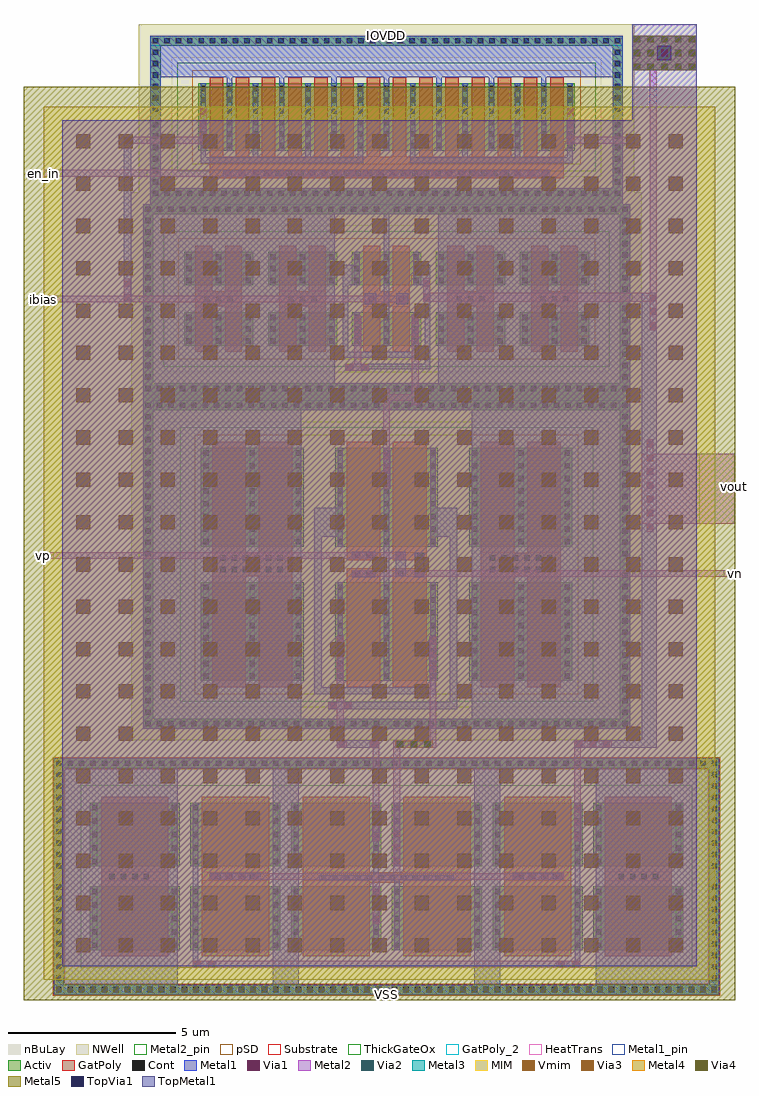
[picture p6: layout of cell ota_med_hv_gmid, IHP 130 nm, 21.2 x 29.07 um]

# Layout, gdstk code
from math import pi, radians
import gdstk
lib = gdstk.Library(unit=1e-6, precision=1e-09)
def R(c, l, rs):  # rectangles x0, y0, x1, y1
    for r in rs: c.add(gdstk.rectangle(r[:2], r[2:], *l))
def A(c, l, x, y, w, h, nx, ny, dx, dy):  # array of equal rectangles
    R(c, l, [(x+i*dx, y+j*dy, x+i*dx+w, y+j*dy+h) for i in range(nx) for j in range(ny)])
def P(c, l, *ps):  # polygons
    for p in ps: c.add(gdstk.Polygon(p, *l))
Activ = (1, 0)
GatPoly = (5, 0)
GatPoly_2 = (5, 2)
Cont = (6, 0)
Metal1 = (8, 0)
Metal1_pin = (8, 2)
Metal2 = (10, 0)
Metal2_pin = (10, 2)
pSD = (14, 0)
Via1 = (19, 0)
Via2 = (29, 0)
Metal3 = (30, 0)
NWell = (31, 0)
nBuLay = (32, 0)
MIM = (36, 0)
Substrate = (40, 0)
ThickGateOx = (44, 0)
Via3 = (49, 0)
Metal4 = (50, 0)
HeatTrans = (51, 0)
Via4 = (66, 0)
Metal5 = (67, 0)
TopVia1 = (125, 0)
TopMetal1 = (126, 0)
Vmim = (129, 0)

pmoshv_1_1 = lib.new_cell('pmosHV$1$1')
A(pmoshv_1_1, Activ, 0, 0, 0.3, 0.3, 3, 1, 1.38, 0)
R(pmoshv_1_1, Activ, [(0,0,3.06,2.94)])
R(pmoshv_1_1, GatPoly, [(0.34,-0.18,1.34,3.12), (1.72,-0.18,2.72,3.12)])
R(pmoshv_1_1, GatPoly_2, [(0.34,-0.18,1.34,3.12)])
A(pmoshv_1_1, Cont, 0.07, 0.07, 0.16, 0.16, 3, 3, 1.38, 0.375)
A(pmoshv_1_1, Cont, 0.07, 1.2, 0.16, 0.16, 3, 2, 1.38, 0.375)
A(pmoshv_1_1, Cont, 0.07, 1.955, 0.16, 0.16, 3, 2, 1.38, 0.375)
A(pmoshv_1_1, Cont, 0.07, 2.71, 0.16, 0.16, 3, 1, 1.38, 0)
A(pmoshv_1_1, Metal1, 0.07, 0, 0.16, 2.94, 3, 1, 1.38, 0)
R(pmoshv_1_1, Metal1_pin, [(0.07,0,0.23,2.94), (1.45,0,1.61,2.94)])
R(pmoshv_1_1, pSD, [(-0.18,-0.4,3.24,3.34)])
R(pmoshv_1_1, NWell, [(-0.62,-0.62,3.68,3.56)])
R(pmoshv_1_1, Substrate, [(2.76,0,3.06,0.3)])
R(pmoshv_1_1, ThickGateOx, [(-0.62,-0.62,3.68,3.56)])
R(pmoshv_1_1, HeatTrans, [(0.34,-0.18,1.34,3.12), (1.72,-0.18,2.72,3.12)])
pmoshv_1_1.add(gdstk.Label('pmosHV', (0.84,1.47), layer=63, texttype=0))
pmoshv_1_1.add(gdstk.Label('pmos', (0.84,1.47), layer=51, texttype=0))
pmoshv_1_1.add(gdstk.Label('pmos', (2.22,1.47), layer=51, texttype=0))

guard_ring_3_2 = lib.new_cell('guard_ring$3$2')
R(guard_ring_3_2, Activ, [(-7.25,-4.59,-6.95,4.59), (6.95,-4.59,7.25,4.59), (-7.25,4.59,7.25,4.89)])
P(guard_ring_3_2, Activ, [(-7.25,-4.89),(-7.25,4.59),(-6.95,4.59),(-6.95,-4.59),(6.95,-4.59),(6.95,4.59),(-7.25,4.59),(-7.25,4.89),(7.25,4.89),(7.25,-4.89)])
A(guard_ring_3_2, Cont, -7.18, -4.82, 0.16, 0.16, 21, 2, 0.34, 9.48)
A(guard_ring_3_2, Cont, 0.22, -4.82, 0.16, 0.16, 21, 2, 0.34, 9.48)
A(guard_ring_3_2, Cont, -7.18, -4.48, 0.16, 0.16, 1, 13, 0, 0.34)
A(guard_ring_3_2, Cont, 7.02, -4.48, 0.16, 0.16, 1, 13, 0, 0.34)
A(guard_ring_3_2, Cont, -7.18, 0.24, 0.16, 0.16, 1, 13, 0, 0.34)
A(guard_ring_3_2, Cont, 7.02, 0.24, 0.16, 0.16, 1, 13, 0, 0.34)
R(guard_ring_3_2, Metal1, [(-7.25,-4.89,7.25,-4.59), (-7.25,-4.59,-6.95,4.59), (6.95,-4.59,7.25,4.59), (-7.25,4.59,7.25,4.89)])
R(guard_ring_3_2, NWell, [(-7.6,-5.24,7.6,5.24)])
R(guard_ring_3_2, nBuLay, [(-7.6,-4.24,-6.6,4.24), (6.6,-4.24,7.6,4.24), (-7.6,4.24,7.6,5.24)])
P(guard_ring_3_2, nBuLay, [(-7.6,-5.24),(-7.6,4.24),(-6.6,4.24),(-6.6,-4.24),(6.6,-4.24),(6.6,4.24),(-7.6,4.24),(-7.6,5.24),(7.6,5.24),(7.6,-5.24)])
guard_ring_3_2.add(gdstk.Label('well', (0,-4.74), layer=63, texttype=0))

via_stack_6_3 = lib.new_cell('via_stack$6$3')
R(via_stack_6_3, GatPoly, [(-1,-0.32,1,0.32)])
A(via_stack_6_3, Cont, -0.93, -0.25, 0.16, 0.16, 6, 2, 0.34, 0.34)
R(via_stack_6_3, Metal1, [(-0.98,-0.25,0.98,0.25)])

via_stack_10_3 = lib.new_cell('via_stack$10$3')
R(via_stack_10_3, GatPoly, [(-0.32,-0.15,0.32,0.15)])
R(via_stack_10_3, Cont, [(-0.25,-0.08,-0.09,0.08), (0.09,-0.08,0.25,0.08)])
R(via_stack_10_3, Metal1, [(-0.35,-0.105,0.35,0.105)])
R(via_stack_10_3, Metal2, [(-0.35,-0.1,0.35,0.1)])
R(via_stack_10_3, Via1, [(-0.3,-0.095,-0.11,0.095), (0.11,-0.095,0.3,0.095)])

via_stack_8_3 = lib.new_cell('via_stack$8$3')
R(via_stack_8_3, GatPoly, [(-0.15,-0.15,0.15,0.15)])
R(via_stack_8_3, Cont, [(-0.08,-0.08,0.08,0.08)])
R(via_stack_8_3, Metal1, [(-0.13,-0.08,0.13,0.08)])

via_stack_1_1 = lib.new_cell('via_stack$1$1')
R(via_stack_1_1, Metal1, [(-0.105,-0.555,0.105,0.555)])
R(via_stack_1_1, Metal2, [(-0.1,-0.555,0.1,0.555)])
A(via_stack_1_1, Via1, -0.095, -0.505, 0.19, 0.19, 1, 3, 0, 0.41)

via_stack_4_3 = lib.new_cell('via_stack$4$3')
R(via_stack_4_3, Metal1, [(-0.35,-0.105,0.35,0.105)])
R(via_stack_4_3, Metal2, [(-0.35,-0.1,0.35,0.1)])
R(via_stack_4_3, Via1, [(-0.3,-0.095,-0.11,0.095), (0.11,-0.095,0.3,0.095)])

via_stack_9 = lib.new_cell('via_stack$9')
R(via_stack_9, Metal1, [(-0.145,-0.105,0.145,0.105)])
R(via_stack_9, Metal2, [(-0.145,-0.1,0.145,0.1)])
R(via_stack_9, Via1, [(-0.095,-0.095,0.095,0.095)])

ota_med_hv_gmid_diff = lib.new_cell('ota_med_hv_gmid_diff')
R(ota_med_hv_gmid_diff, GatPoly, [(-5.19,-0.35,-2.81,0.35), (-1.19,-0.35,-0.19,-0.12), (0.19,-0.35,1.19,-0.12), (2.81,-0.35,5.19,0.35), (-1.19,0.12,-0.19,0.35), (0.19,0.12,1.19,0.35)])
R(ota_med_hv_gmid_diff, Metal1, [(-6.95,-4.89,-2.54,4.89), (2.54,-4.89,6.95,4.89), (-1.46,-4.31,2.1,-4.09), (1.875,-4.24,2.1,1.695), (-2.15,-3.87,-1.925,1.695), (-2.15,-3.87,1.46,-3.65), (1.3,-3.87,1.46,-3.055), (-0.08,-0.805,0.08,1.2), (0.84,-0.37,1.13,0.35), (0.275,-0.35,0.565,0.33), (-2.15,0.825,-1.3,1.695), (1.3,0.825,2.1,1.695)])
R(ota_med_hv_gmid_diff, Metal1_pin, [(-6.95,4.59,6.95,4.89)])
R(ota_med_hv_gmid_diff, Metal2, [(-1.48,-5.24,-1.28,-3.99), (1.28,-5.24,1.48,-3.065), (-1.48,-4.3,-1.28,-3), (-0.7,-0.37,1.125,-0.17), (0.77,-0.37,7.6,-0.17), (-7.6,0.17,-0.34,0.37), (-1.01,0.17,0.54,0.37), (-0.1,3.115,0.1,5.24)])
R(ota_med_hv_gmid_diff, Metal2_pin, [(-1.48,-5.24,-1.28,-4.975), (1.28,-5.24,1.48,-5), (7.32,-0.37,7.6,-0.17), (-7.6,0.17,-7.37,0.37), (-0.1,5.01,0.1,5.24)])
R(ota_med_hv_gmid_diff, pSD, [(-5.71,-3.87,5.71,3.87)])
r = gdstk.Reference(pmoshv_1_1, (-5.53,-3.47)); r.repetition = gdstk.Repetition(3, 2, v1=(4,0), v2=(0,4)); ota_med_hv_gmid_diff.add(r)
ota_med_hv_gmid_diff.add(gdstk.Reference(guard_ring_3_2, (0,0)))
ota_med_hv_gmid_diff.add(gdstk.Reference(via_stack_6_3, (-4.025,0.02)))
ota_med_hv_gmid_diff.add(gdstk.Reference(via_stack_6_3, (4.01,0.02)))
ota_med_hv_gmid_diff.add(gdstk.Reference(via_stack_10_3, (-0.69,0.27)))
ota_med_hv_gmid_diff.add(gdstk.Reference(via_stack_8_3, (0.995,0.27)))
ota_med_hv_gmid_diff.add(gdstk.Reference(via_stack_8_3, (0.42,-0.27), x_reflection=True))
ota_med_hv_gmid_diff.add(gdstk.Reference(via_stack_10_3, (-0.69,-0.27), x_reflection=True))
ota_med_hv_gmid_diff.add(gdstk.Reference(via_stack_1_1, (-1.38,-2.69)))
ota_med_hv_gmid_diff.add(gdstk.Reference(via_stack_4_3, (-1.38,-4.2)))
ota_med_hv_gmid_diff.add(gdstk.Reference(via_stack_1_1, (1.38,-2.69)))
ota_med_hv_gmid_diff.add(gdstk.Reference(via_stack_9, (0.42,0.27), x_reflection=True))
ota_med_hv_gmid_diff.add(gdstk.Reference(via_stack_9, (0.985,-0.27), x_reflection=True))
ota_med_hv_gmid_diff.add(gdstk.Reference(via_stack_1_1, (0,2.815)))
ota_med_hv_gmid_diff.add(gdstk.Label('IOVDD', (-1.295,4.89), layer=8, texttype=2))
ota_med_hv_gmid_diff.add(gdstk.Label('iref', (-1.38,-5.24), layer=10, texttype=2))
ota_med_hv_gmid_diff.add(gdstk.Label('vota', (1.38,-5.24), layer=10, texttype=2))
ota_med_hv_gmid_diff.add(gdstk.Label('tail', (0,5.24), layer=10, texttype=2))
ota_med_hv_gmid_diff.add(gdstk.Label('vn', (7.6,-0.27), layer=10, texttype=2))
ota_med_hv_gmid_diff.add(gdstk.Label('vp', (-7.6,0.27), layer=10, texttype=2))

nmoshv_1_1 = lib.new_cell('nmosHV$1$1')
R(nmoshv_1_1, Activ, [(0,0,0.3,0.3), (0,0,2.68,1.9), (2.38,0,2.68,0.3)])
R(nmoshv_1_1, GatPoly, [(0.34,-0.18,2.34,2.08)])
R(nmoshv_1_1, GatPoly_2, [(0.34,-0.18,2.34,2.08)])
A(nmoshv_1_1, Cont, 0.07, 0.07, 0.16, 0.16, 1, 5, 0, 0.4)
A(nmoshv_1_1, Cont, 2.45, 0.07, 0.16, 0.16, 1, 5, 0, 0.4)
R(nmoshv_1_1, Metal1, [(0.07,0,0.23,1.9), (2.45,0,2.61,1.9)])
R(nmoshv_1_1, Metal1_pin, [(0.07,0,0.23,1.9), (2.45,0,2.61,1.9)])
R(nmoshv_1_1, ThickGateOx, [(-0.27,-0.52,2.95,2.42)])
R(nmoshv_1_1, HeatTrans, [(0.34,-0.18,2.34,2.08)])
nmoshv_1_1.add(gdstk.Label('nmosHV', (1.34,0.95), layer=63, texttype=0))
nmoshv_1_1.add(gdstk.Label('nmosHV', (1.34,0.95), layer=51, texttype=0))

via_stack_2_3 = lib.new_cell('via_stack$2$3')
R(via_stack_2_3, GatPoly, [(-2.02,-0.15,2.02,0.15)])
A(via_stack_2_3, Cont, -1.95, -0.08, 0.16, 0.16, 12, 1, 0.34, 0)
R(via_stack_2_3, Metal1, [(-2,-0.08,2,0.08)])

via_stack_35 = lib.new_cell('via_stack$35')
R(via_stack_35, GatPoly, [(-0.66,-0.15,0.66,0.15)])
A(via_stack_35, Cont, -0.59, -0.08, 0.16, 0.16, 4, 1, 0.34, 0)
R(via_stack_35, Metal1, [(-0.76,-0.105,0.76,0.105)])
R(via_stack_35, Metal2, [(-0.76,-0.1,0.76,0.1)])
A(via_stack_35, Via1, -0.71, -0.095, 0.19, 0.19, 4, 1, 0.41, 0)

guard_ring_1_1 = lib.new_cell('guard_ring$1$1')
R(guard_ring_1_1, Activ, [(-9.91,-3.22,-9.61,3.22), (9.61,-3.22,9.91,3.22), (-9.91,3.22,9.91,3.52)])
P(guard_ring_1_1, Activ, [(-9.91,-3.52),(-9.91,3.22),(-9.61,3.22),(-9.61,-3.22),(9.61,-3.22),(9.61,3.22),(-9.91,3.22),(-9.91,3.52),(9.91,3.52),(9.91,-3.52)])
A(guard_ring_1_1, Cont, -9.84, -3.45, 0.16, 0.16, 29, 2, 0.34, 6.74)
A(guard_ring_1_1, Cont, 0.16, -3.45, 0.16, 0.16, 29, 2, 0.34, 6.74)
A(guard_ring_1_1, Cont, -9.84, -3.11, 0.16, 0.16, 1, 9, 0, 0.34)
A(guard_ring_1_1, Cont, 9.68, -3.11, 0.16, 0.16, 1, 9, 0, 0.34)
A(guard_ring_1_1, Cont, -9.84, 0.23, 0.16, 0.16, 1, 9, 0, 0.34)
A(guard_ring_1_1, Cont, 9.68, 0.23, 0.16, 0.16, 1, 9, 0, 0.34)
R(guard_ring_1_1, Metal1, [(-9.91,-3.52,9.91,-3.22), (-9.91,-3.22,-9.61,3.22), (9.61,-3.22,9.91,3.22), (-9.91,3.22,9.91,3.52)])
R(guard_ring_1_1, pSD, [(-9.94,-3.19,-9.58,3.19), (9.58,-3.19,9.94,3.19), (-9.94,3.19,9.94,3.55)])
P(guard_ring_1_1, pSD, [(-9.94,-3.55),(-9.94,3.19),(-9.58,3.19),(-9.58,-3.19),(9.58,-3.19),(9.58,3.19),(-9.94,3.19),(-9.94,3.55),(9.94,3.55),(9.94,-3.55)])
R(guard_ring_1_1, Substrate, [(-9.94,-3.19,-9.58,3.19), (9.58,-3.19,9.94,3.19), (-9.94,3.19,9.94,3.55)])
P(guard_ring_1_1, Substrate, [(-9.94,-3.55),(-9.94,3.19),(-9.58,3.19),(-9.58,-3.19),(9.58,-3.19),(9.58,3.19),(-9.94,3.19),(-9.94,3.55),(9.94,3.55),(9.94,-3.55)])
guard_ring_1_1.add(gdstk.Label('sub!', (0,-3.37), layer=63, texttype=0))

via_stack_20_3 = lib.new_cell('via_stack$20$3')
R(via_stack_20_3, GatPoly, [(-0.66,-0.15,0.66,0.15)])
A(via_stack_20_3, Cont, -0.59, -0.08, 0.16, 0.16, 4, 1, 0.34, 0)
R(via_stack_20_3, Metal1, [(-0.64,-0.08,0.64,0.08)])

ota_med_hv_gmid_mirror = lib.new_cell('ota_med_hv_gmid_mirror')
R(ota_med_hv_gmid_mirror, GatPoly, [(-8.5,-0.26,-6.5,0.195), (6.5,-0.25,8.5,0.23), (-5.5,-0.12,-3.5,0.12), (-2.5,-0.12,2.5,0.12), (3.5,-0.12,5.5,0.12)])
R(ota_med_hv_gmid_mirror, Metal1, [(-9.91,-3.52,-6.225,3.52), (-3.39,-3.52,-2.61,3.52), (2.61,-3.52,3.39,3.52), (6.23,-3.52,9.91,3.52), (-5.77,-2.72,-5.61,1.97), (5.61,-2.72,5.77,1.97), (0.23,-0.475,0.39,0.05), (-0.39,-0.12,-0.23,0.3), (-0.39,-0.12,0.39,0.05)])
R(ota_med_hv_gmid_mirror, Metal1_pin, [(-9.91,-3.52,9.91,-3.22)])
R(ota_med_hv_gmid_mirror, Metal2, [(-5.34,-2.715,5.475,-2.515), (-0.41,-0.415,-0.21,0.1), (-4.325,-0.1,4.08,0.1), (0.205,0.03,0.405,0.545), (0.205,1.16,0.405,3.55), (-0.415,2.03,-0.215,3.55), (5.59,2.03,5.79,3.55)])
R(ota_med_hv_gmid_mirror, Metal2_pin, [(-0.415,3.22,-0.215,3.55), (5.59,3.22,5.79,3.55), (0.205,3.225,0.405,3.55)])
r = gdstk.Reference(nmoshv_1_1, (8.84,-2.2), rotation=pi, x_reflection=True); r.repetition = gdstk.Repetition(6, 2, v1=(-3,0), v2=(0,2.5)); ota_med_hv_gmid_mirror.add(r)
ota_med_hv_gmid_mirror.add(gdstk.Reference(via_stack_1_1, (0.305,0.87), rotation=pi, x_reflection=True))
ota_med_hv_gmid_mirror.add(gdstk.Reference(via_stack_1_1, (-0.31,-0.875), rotation=pi, x_reflection=True))
ota_med_hv_gmid_mirror.add(gdstk.Reference(via_stack_2_3, (0,-0.04), rotation=pi, x_reflection=True))
ota_med_hv_gmid_mirror.add(gdstk.Reference(via_stack_35, (4.52,0), rotation=pi, x_reflection=True))
ota_med_hv_gmid_mirror.add(gdstk.Reference(via_stack_35, (-4.51,0), rotation=pi, x_reflection=True))
ota_med_hv_gmid_mirror.add(gdstk.Reference(guard_ring_1_1, (0,0), rotation=pi, x_reflection=True))
ota_med_hv_gmid_mirror.add(gdstk.Reference(via_stack_4_3, (-5.42,-2.615), rotation=pi, x_reflection=True))
ota_med_hv_gmid_mirror.add(gdstk.Reference(via_stack_4_3, (5.42,-2.615), rotation=pi, x_reflection=True))
ota_med_hv_gmid_mirror.add(gdstk.Reference(via_stack_1_1, (-0.315,1.6), rotation=pi, x_reflection=True))
ota_med_hv_gmid_mirror.add(gdstk.Reference(via_stack_1_1, (5.69,1.6), rotation=pi, x_reflection=True))
ota_med_hv_gmid_mirror.add(gdstk.Reference(via_stack_20_3, (7.5,0), rotation=pi, x_reflection=True))
ota_med_hv_gmid_mirror.add(gdstk.Reference(via_stack_20_3, (-7.665,0), rotation=pi, x_reflection=True))
ota_med_hv_gmid_mirror.add(gdstk.Label('VSS', (0,-3.52), layer=8, texttype=2))
ota_med_hv_gmid_mirror.add(gdstk.Label('Iref', (-0.315,3.55), layer=10, texttype=2))
ota_med_hv_gmid_mirror.add(gdstk.Label('vota', (0.305,3.55), layer=10, texttype=2))
ota_med_hv_gmid_mirror.add(gdstk.Label('Vout', (5.69,3.55), layer=10, texttype=2))

pmoshv_2_1 = lib.new_cell('pmosHV$2$1')
A(pmoshv_2_1, Activ, 0, 0, 0.3, 0.3, 3, 1, 0.88, 0)
R(pmoshv_2_1, Activ, [(0,0,2.06,1)])
R(pmoshv_2_1, GatPoly, [(0.34,-0.18,0.84,1.18), (1.22,-0.18,1.72,1.18)])
R(pmoshv_2_1, GatPoly_2, [(0.34,-0.18,0.84,1.18)])
A(pmoshv_2_1, Cont, 0.07, 0.07, 0.16, 0.16, 3, 3, 0.88, 0.35)
A(pmoshv_2_1, Metal1, 0.07, 0, 0.16, 1, 3, 1, 0.88, 0)
R(pmoshv_2_1, Metal1_pin, [(0.07,0,0.23,1), (0.95,0,1.11,1)])
R(pmoshv_2_1, pSD, [(-0.18,-0.4,2.24,1.4)])
R(pmoshv_2_1, NWell, [(-0.62,-0.62,2.68,1.62)])
R(pmoshv_2_1, Substrate, [(1.76,0,2.06,0.3)])
R(pmoshv_2_1, ThickGateOx, [(-0.62,-0.62,2.68,1.62)])
R(pmoshv_2_1, HeatTrans, [(0.34,-0.18,0.84,1.18), (1.22,-0.18,1.72,1.18)])
pmoshv_2_1.add(gdstk.Label('pmosHV', (0.59,0.5), layer=63, texttype=0))
pmoshv_2_1.add(gdstk.Label('pmos', (0.59,0.5), layer=51, texttype=0))
pmoshv_2_1.add(gdstk.Label('pmos', (1.47,0.5), layer=51, texttype=0))

guard_ring_8 = lib.new_cell('guard_ring$8')
R(guard_ring_8, Activ, [(-7.25,-2.52,-6.95,2.52), (6.95,-2.52,7.25,2.52), (-7.25,2.52,7.25,2.82)])
P(guard_ring_8, Activ, [(-7.25,-2.82),(-7.25,2.52),(-6.95,2.52),(-6.95,-2.52),(6.95,-2.52),(6.95,2.52),(-7.25,2.52),(-7.25,2.82),(7.25,2.82),(7.25,-2.82)])
A(guard_ring_8, Cont, -7.18, -2.75, 0.16, 0.16, 21, 2, 0.34, 5.34)
A(guard_ring_8, Cont, 0.22, -2.75, 0.16, 0.16, 21, 2, 0.34, 5.34)
A(guard_ring_8, Cont, -7.18, -2.41, 0.16, 0.16, 1, 7, 0, 0.34)
A(guard_ring_8, Cont, 7.02, -2.41, 0.16, 0.16, 1, 7, 0, 0.34)
A(guard_ring_8, Cont, -7.18, 0.21, 0.16, 0.16, 1, 7, 0, 0.34)
A(guard_ring_8, Cont, 7.02, 0.21, 0.16, 0.16, 1, 7, 0, 0.34)
R(guard_ring_8, Metal1, [(-7.25,-2.82,7.25,-2.52), (-7.25,-2.52,-6.95,2.52), (6.95,-2.52,7.25,2.52), (-7.25,2.52,7.25,2.82)])
R(guard_ring_8, NWell, [(-7.6,-3.17,7.6,3.17)])
R(guard_ring_8, nBuLay, [(-7.6,-2.17,-6.6,2.17), (6.6,-2.17,7.6,2.17), (-7.6,2.17,7.6,3.17)])
P(guard_ring_8, nBuLay, [(-7.6,-3.17),(-7.6,2.17),(-6.6,2.17),(-6.6,-2.17),(6.6,-2.17),(6.6,2.17),(-7.6,2.17),(-7.6,3.17),(7.6,3.17),(7.6,-3.17)])
guard_ring_8.add(gdstk.Label('well', (0,-2.67), layer=63, texttype=0))

via_stack_11 = lib.new_cell('via_stack$11')
R(via_stack_11, GatPoly, [(-0.49,-0.15,0.49,0.15)])
A(via_stack_11, Cont, -0.42, -0.08, 0.16, 0.16, 3, 1, 0.34, 0)
R(via_stack_11, Metal1, [(-0.47,-0.08,0.47,0.08)])

via_stack_12_2 = lib.new_cell('via_stack$12$2')
R(via_stack_12_2, Metal1, [(-0.105,-0.35,0.105,0.35)])
R(via_stack_12_2, Metal2, [(-0.1,-0.35,0.1,0.35)])
R(via_stack_12_2, Via1, [(-0.095,-0.3,0.095,-0.11), (-0.095,0.11,0.095,0.3)])

via_stack_14_3 = lib.new_cell('via_stack$14$3')
R(via_stack_14_3, GatPoly, [(-0.15,-0.15,0.15,0.15)])
R(via_stack_14_3, Cont, [(-0.08,-0.08,0.08,0.08)])
R(via_stack_14_3, Metal1, [(-0.145,-0.105,0.145,0.105)])
R(via_stack_14_3, Metal2, [(-0.145,-0.1,0.145,0.1)])
R(via_stack_14_3, Via1, [(-0.095,-0.095,0.095,0.095)])

ota_med_hv_gmid_tail = lib.new_cell('ota_med_hv_gmid_tail')
A(ota_med_hv_gmid_tail, GatPoly, -5.69, -0.22, 1.38, 0.44, 5, 1, 2.5, 0)
R(ota_med_hv_gmid_tail, Metal1, [(-7,-2.82,-1.54,2.82), (1.54,-2.82,7,2.82), (-0.96,-2.1,1.3,-1.93), (1.14,-2.1,1.3,1.01), (-1.3,-1.75,0.96,-1.58), (0.8,-1.75,0.96,-1.21), (-1.3,-1.58,-1.14,1.01), (-0.08,-1.4,0.08,2.82), (0.295,-0.165,0.65,0.17), (-0.65,-0.16,-0.305,0.16), (-1.3,0.4,-0.8,1.01), (0.8,0.4,1.3,1.01)])
R(ota_med_hv_gmid_tail, Metal1_pin, [(-4.95,2.52,4.95,2.82)])
R(ota_med_hv_gmid_tail, Metal2, [(0.755,-3.17,0.955,-1.125), (-0.955,-2.14,-0.755,-0.995), (-7.6,-0.105,0.585,0.095), (1.095,-0.09,7.6,0.18)])
R(ota_med_hv_gmid_tail, Metal2_pin, [(0.755,-3.17,0.955,-2.915), (-7.6,-0.105,-7.345,0.095), (7.3,-0.09,7.6,0.18)])
R(ota_med_hv_gmid_tail, pSD, [(-6.21,-1.8,6.21,1.8)])
r = gdstk.Reference(pmoshv_2_1, (-6.03,-1.4)); r.repetition = gdstk.Repetition(5, 2, v1=(2.5,0), v2=(0,1.8)); ota_med_hv_gmid_tail.add(r)
ota_med_hv_gmid_tail.add(gdstk.Reference(guard_ring_8, (0,0)))
ota_med_hv_gmid_tail.add(gdstk.Reference(via_stack_11, (-2.505,0)))
ota_med_hv_gmid_tail.add(gdstk.Reference(via_stack_11, (2.505,0)))
ota_med_hv_gmid_tail.add(gdstk.Reference(via_stack_12_2, (-0.855,-0.85)))
ota_med_hv_gmid_tail.add(gdstk.Reference(via_stack_4_3, (-0.88,-2.04)))
ota_med_hv_gmid_tail.add(gdstk.Reference(via_stack_12_2, (0.855,-0.85)))
ota_med_hv_gmid_tail.add(gdstk.Reference(via_stack_12_2, (1.195,0.26)))
ota_med_hv_gmid_tail.add(gdstk.Reference(via_stack_14_3, (-0.45,-0.005)))
ota_med_hv_gmid_tail.add(gdstk.Reference(via_stack_14_3, (0.44,-0.005)))
ota_med_hv_gmid_tail.add(gdstk.Reference(via_stack_11, (-5.005,0)))
ota_med_hv_gmid_tail.add(gdstk.Reference(via_stack_11, (4.995,0)))
ota_med_hv_gmid_tail.add(gdstk.Label('IOVDD', (0,2.82), layer=8, texttype=2))
ota_med_hv_gmid_tail.add(gdstk.Label('ibias', (-7.6,-0.005), layer=10, texttype=2))
ota_med_hv_gmid_tail.add(gdstk.Label('vout', (7.6,0.045), layer=10, texttype=2))
ota_med_hv_gmid_tail.add(gdstk.Label('tail', (0.855,-3.17), layer=10, texttype=2))

pmoshv_3_1 = lib.new_cell('pmosHV$3$1')
A(pmoshv_3_1, Activ, 0, 0, 0.3, 0.3, 15, 1, 0.78, 0)
R(pmoshv_3_1, Activ, [(-1.42,-1.12,-1.12,3.12), (12.34,-1.12,12.64,3.12), (0,0,11.22,2), (-1.42,3.12,12.64,3.42)])
P(pmoshv_3_1, Activ, [(-1.42,-1.42),(-1.42,3.12),(-1.12,3.12),(-1.12,-1.12),(12.34,-1.12),(12.34,3.12),(-1.42,3.12),(-1.42,3.42),(12.64,3.42),(12.64,-1.42)])
A(pmoshv_3_1, GatPoly, 0.34, -0.18, 0.4, 2.36, 14, 1, 0.78, 0)
R(pmoshv_3_1, GatPoly_2, [(0.34,-0.18,0.74,2.18)])
A(pmoshv_3_1, Cont, -1.35, -1.35, 0.16, 0.16, 20, 2, 0.34, 4.54)
A(pmoshv_3_1, Cont, 5.61, -1.35, 0.16, 0.16, 21, 2, 0.34, 4.54)
A(pmoshv_3_1, Cont, -1.35, -1.01, 0.16, 0.16, 1, 6, 0, 0.34)
A(pmoshv_3_1, Cont, 12.41, -1.01, 0.16, 0.16, 1, 6, 0, 0.34)
A(pmoshv_3_1, Cont, 0.07, 0.07, 0.16, 0.16, 15, 6, 0.78, 0.34)
A(pmoshv_3_1, Cont, -1.35, 1.15, 0.16, 0.16, 1, 6, 0, 0.34)
A(pmoshv_3_1, Cont, 12.41, 1.15, 0.16, 0.16, 1, 6, 0, 0.34)
A(pmoshv_3_1, Metal1, 0.07, 0, 0.16, 2, 15, 1, 0.78, 0)
R(pmoshv_3_1, Metal1, [(-1.42,-1.42,12.64,-1.12), (-1.42,-1.12,-1.12,3.12), (12.34,-1.12,12.64,3.12), (-1.42,3.12,12.64,3.42)])
R(pmoshv_3_1, Metal1_pin, [(0.07,0,0.23,2), (0.85,0,1.01,2)])
R(pmoshv_3_1, pSD, [(-0.18,-0.4,11.4,2.4)])
R(pmoshv_3_1, NWell, [(-1.77,-1.77,12.99,3.77), (-0.62,-0.62,11.84,2.62)])
R(pmoshv_3_1, nBuLay, [(-1.77,-0.77,-0.77,2.77), (11.99,-0.77,12.99,2.77), (-1.77,2.77,12.99,3.77)])
P(pmoshv_3_1, nBuLay, [(-1.77,-1.77),(-1.77,2.77),(-0.77,2.77),(-0.77,-0.77),(11.99,-0.77),(11.99,2.77),(-1.77,2.77),(-1.77,3.77),(12.99,3.77),(12.99,-1.77)])
R(pmoshv_3_1, Substrate, [(10.92,0,11.22,0.3)])
R(pmoshv_3_1, ThickGateOx, [(-0.62,-0.62,11.84,2.62)])
A(pmoshv_3_1, HeatTrans, 0.34, -0.18, 0.4, 2.36, 14, 1, 0.78, 0)
pmoshv_3_1.add(gdstk.Label('pmosHV', (0.54,1), layer=63, texttype=0))
pmoshv_3_1.add(gdstk.Label('well', (5.61,-1.27), layer=63, texttype=0))
pmoshv_3_1.add(gdstk.Label('pmos', (0.54,1), layer=51, texttype=0))
pmoshv_3_1.add(gdstk.Label('pmos', (1.32,1), layer=51, texttype=0))
pmoshv_3_1.add(gdstk.Label('pmos', (2.1,1), layer=51, texttype=0))
pmoshv_3_1.add(gdstk.Label('pmos', (2.88,1), layer=51, texttype=0))
pmoshv_3_1.add(gdstk.Label('pmos', (3.66,1), layer=51, texttype=0))
pmoshv_3_1.add(gdstk.Label('pmos', (4.44,1), layer=51, texttype=0))
pmoshv_3_1.add(gdstk.Label('pmos', (5.22,1), layer=51, texttype=0))
pmoshv_3_1.add(gdstk.Label('pmos', (6,1), layer=51, texttype=0))
pmoshv_3_1.add(gdstk.Label('pmos', (6.78,1), layer=51, texttype=0))
pmoshv_3_1.add(gdstk.Label('pmos', (7.56,1), layer=51, texttype=0))
pmoshv_3_1.add(gdstk.Label('pmos', (8.34,1), layer=51, texttype=0))
pmoshv_3_1.add(gdstk.Label('pmos', (9.12,1), layer=51, texttype=0))
pmoshv_3_1.add(gdstk.Label('pmos', (9.9,1), layer=51, texttype=0))
pmoshv_3_1.add(gdstk.Label('pmos', (10.68,1), layer=51, texttype=0))

via_stack_21_2 = lib.new_cell('via_stack$21$2')
R(via_stack_21_2, GatPoly, [(-4.06,-0.15,4.06,0.15)])
A(via_stack_21_2, Cont, -3.99, -0.08, 0.16, 0.16, 24, 1, 0.34, 0)
R(via_stack_21_2, Metal1, [(-4.86,-0.105,4.86,0.105)])
R(via_stack_21_2, Metal2, [(-4.86,-0.1,4.86,0.1)])
A(via_stack_21_2, Via1, -4.81, -0.095, 0.19, 0.19, 24, 1, 0.41, 0)

ota_med_hv_gmid_enable = lib.new_cell('ota_med_hv_gmid_enable')
R(ota_med_hv_gmid_enable, GatPoly, [(-5.27,-1.825,5.27,-1.18)])
A(ota_med_hv_gmid_enable, Metal1, -5.54, -1.38, 0.16, 0.53, 8, 1, 1.56, 0)
A(ota_med_hv_gmid_enable, Metal1, -4.76, 0.85, 0.16, 0.53, 7, 1, 1.56, 0)
R(ota_med_hv_gmid_enable, Metal1, [(-5.54,-1.38,-0.7,-1.2), (0.7,-1.38,5.54,-1.2), (-7.03,1.18,7.03,2.42)])
R(ota_med_hv_gmid_enable, Metal1_pin, [(-7.03,2.12,7.03,2.42)])
R(ota_med_hv_gmid_enable, Metal2, [(-7.38,-1.775,-4.43,-1.575), (-7.38,-0.795,-5.345,-0.595), (5.36,-0.795,7.395,-0.595)])
R(ota_med_hv_gmid_enable, Metal2_pin, [(-7.38,-1.775,-7.12,-1.575), (-7.38,-0.795,-7.125,-0.595), (7.14,-0.795,7.395,-0.595)])
ota_med_hv_gmid_enable.add(gdstk.Reference(pmoshv_3_1, (-5.61,-1)))
ota_med_hv_gmid_enable.add(gdstk.Reference(via_stack_21_2, (0,-1.675)))
ota_med_hv_gmid_enable.add(gdstk.Reference(via_stack_1_1, (-5.46,-0.25)))
ota_med_hv_gmid_enable.add(gdstk.Reference(via_stack_1_1, (5.475,-0.25), rotation=pi, x_reflection=True))
ota_med_hv_gmid_enable.add(gdstk.Label('IOVDD', (0,2.42), layer=8, texttype=2))
ota_med_hv_gmid_enable.add(gdstk.Label('ibias', (-7.38,-0.695), layer=10, texttype=2))
ota_med_hv_gmid_enable.add(gdstk.Label('en_in', (-7.38,-1.675), layer=10, texttype=2))
ota_med_hv_gmid_enable.add(gdstk.Label('iref', (7.395,-0.695), layer=10, texttype=2))

via_stack_19_2 = lib.new_cell('via_stack$19$2')
R(via_stack_19_2, Metal2, [(-0.555,-0.1,0.555,0.1)])
A(via_stack_19_2, Via2, -0.505, -0.095, 0.19, 0.19, 3, 1, 0.41, 0)
R(via_stack_19_2, Metal3, [(-0.555,-0.1,0.555,0.1)])
A(via_stack_19_2, Via3, -0.505, -0.095, 0.19, 0.19, 3, 1, 0.41, 0)
R(via_stack_19_2, Metal4, [(-0.555,-0.1,0.555,0.1)])
A(via_stack_19_2, Via4, -0.505, -0.095, 0.19, 0.19, 3, 1, 0.41, 0)
R(via_stack_19_2, Metal5, [(-0.555,-0.1,0.555,0.1)])

via_stack_15_1 = lib.new_cell('via_stack$15$1')
R(via_stack_15_1, Metal1, [(-0.555,-0.105,0.555,0.105)])
R(via_stack_15_1, Metal2, [(-0.555,-0.1,0.555,0.1)])
A(via_stack_15_1, Via1, -0.505, -0.095, 0.19, 0.19, 3, 1, 0.41, 0)

via_stack_29_1 = lib.new_cell('via_stack$29$1')
R(via_stack_29_1, Metal2, [(-0.965,-0.51,0.965,0.51)])
A(via_stack_29_1, Via2, -0.915, -0.505, 0.19, 0.19, 5, 3, 0.41, 0.41)
R(via_stack_29_1, Metal3, [(-0.965,-0.51,0.965,0.51)])
A(via_stack_29_1, Via3, -0.915, -0.505, 0.19, 0.19, 5, 3, 0.41, 0.41)
R(via_stack_29_1, Metal4, [(-0.965,-0.51,0.965,0.51)])
A(via_stack_29_1, Via4, -0.915, -0.505, 0.19, 0.19, 5, 3, 0.41, 0.41)
R(via_stack_29_1, Metal5, [(-0.965,-0.51,0.965,0.51)])
R(via_stack_29_1, TopVia1, [(-0.21,-0.21,0.21,0.21)])
R(via_stack_29_1, TopMetal1, [(-0.82,-0.82,0.82,0.82)])

via_stack_18_3 = lib.new_cell('via_stack$18$3')
R(via_stack_18_3, Metal1, [(-0.105,-1.375,0.105,1.375)])
R(via_stack_18_3, Metal2, [(-0.1,-1.375,0.1,1.375)])
A(via_stack_18_3, Via1, -0.095, -1.325, 0.19, 0.19, 1, 7, 0, 0.41)

cmim_1_1 = lib.new_cell('cmim$1$1')
R(cmim_1_1, MIM, [(0,0,20,26)])
R(cmim_1_1, Metal5, [(-0.6,-0.6,20.6,26.6)])
R(cmim_1_1, TopMetal1, [(0.55,0.4,19.45,25.6)])
A(cmim_1_1, Vmim, 0.97, 0.82, 0.42, 0.42, 15, 20, 1.26, 1.26)

ota_med_hv_gmid = lib.new_cell('ota_med_hv_gmid')
R(ota_med_hv_gmid, Activ, [(-7.25,10.08,7.25,10.88), (-7.03,16.22,7.03,16.395)])
R(ota_med_hv_gmid, Metal1, [(-1.48,0.035,-0.215,0.25), (5.59,0.035,8.045,0.25), (7.6,0.25,8.045,13.58), (-7.25,10.08,7.25,10.88), (-7.83,13.295,-7.6,18.22), (-7.03,16.22,7.03,16.395)])
R(ota_med_hv_gmid, Metal2, [(5.59,-0.7,5.79,0.25), (0.205,-0.39,0.405,0.25), (-0.415,-0.38,-0.215,0.25), (-1.48,0.035,-1.28,0.27), (1.28,0.035,1.48,0.325), (7.32,5.12,10.385,5.32), (-10.21,5.66,-7.37,5.86), (7.6,6.7,10.365,8.79), (-0.05,10.36,0.948,10.56), (-10.21,13.295,-7.345,13.495), (-7.83,13.295,-7.345,13.495), (7.28,13.31,8.045,13.58), (7.84,13.325,8.04,21.23), (-10.21,17.04,-7.12,17.24), (-7.83,18.02,-7.125,18.22)])
R(ota_med_hv_gmid, Metal2_pin, [(10.035,5.12,10.385,5.32), (-10.21,5.66,-9.91,5.86), (9.305,6.7,10.365,8.79), (-10.21,13.295,-9.965,13.495), (-10.21,17.04,-9.86,17.24)])
R(ota_med_hv_gmid, TopMetal1, [(7.31,18.72,9.24,21.585)])
ota_med_hv_gmid.add(gdstk.Reference(ota_med_hv_gmid_diff, (0,5.49)))
ota_med_hv_gmid.add(gdstk.Reference(ota_med_hv_gmid_mirror, (0,-3.8)))
ota_med_hv_gmid.add(gdstk.Reference(ota_med_hv_gmid_tail, (0,13.4)))
ota_med_hv_gmid.add(gdstk.Reference(via_stack_9, (-1.335,0.135)))
ota_med_hv_gmid.add(gdstk.Reference(via_stack_9, (-0.36,0.135)))
ota_med_hv_gmid.add(gdstk.Reference(ota_med_hv_gmid_enable, (0,18.815)))
ota_med_hv_gmid.add(gdstk.Reference(via_stack_19_2, (0.815,0.135)))
ota_med_hv_gmid.add(gdstk.Reference(via_stack_15_1, (6.145,0.145)))
ota_med_hv_gmid.add(gdstk.Reference(via_stack_1_1, (7.94,13.02)))
ota_med_hv_gmid.add(gdstk.Reference(via_stack_29_1, (8.275,20.72)))
ota_med_hv_gmid.add(gdstk.Reference(via_stack_18_3, (7.845,7.845)))
ota_med_hv_gmid.add(gdstk.Reference(via_stack_12_2, (-7.725,13.645)))
ota_med_hv_gmid.add(gdstk.Reference(via_stack_9, (-7.685,18.115)))
ota_med_hv_gmid.add(gdstk.Reference(cmim_1_1, (-10.21,-6.88)))
ota_med_hv_gmid.add(gdstk.Label('IOVDD', (0,21.235), layer=8, texttype=2))
ota_med_hv_gmid.add(gdstk.Label('VSS', (0,-7.32), layer=8, texttype=2))
ota_med_hv_gmid.add(gdstk.Label('en_in', (-10.21,17.14), layer=10, texttype=2))
ota_med_hv_gmid.add(gdstk.Label('ibias', (-10.21,13.395), layer=10, texttype=2))
ota_med_hv_gmid.add(gdstk.Label('vp', (-10.21,5.76), layer=10, texttype=2))
ota_med_hv_gmid.add(gdstk.Label('vn', (10.385,5.225), layer=10, texttype=2))
ota_med_hv_gmid.add(gdstk.Label('vout', (10.365,7.815), layer=10, texttype=2))

lib.write_gds('ota_med_hv_gmid.gds')
